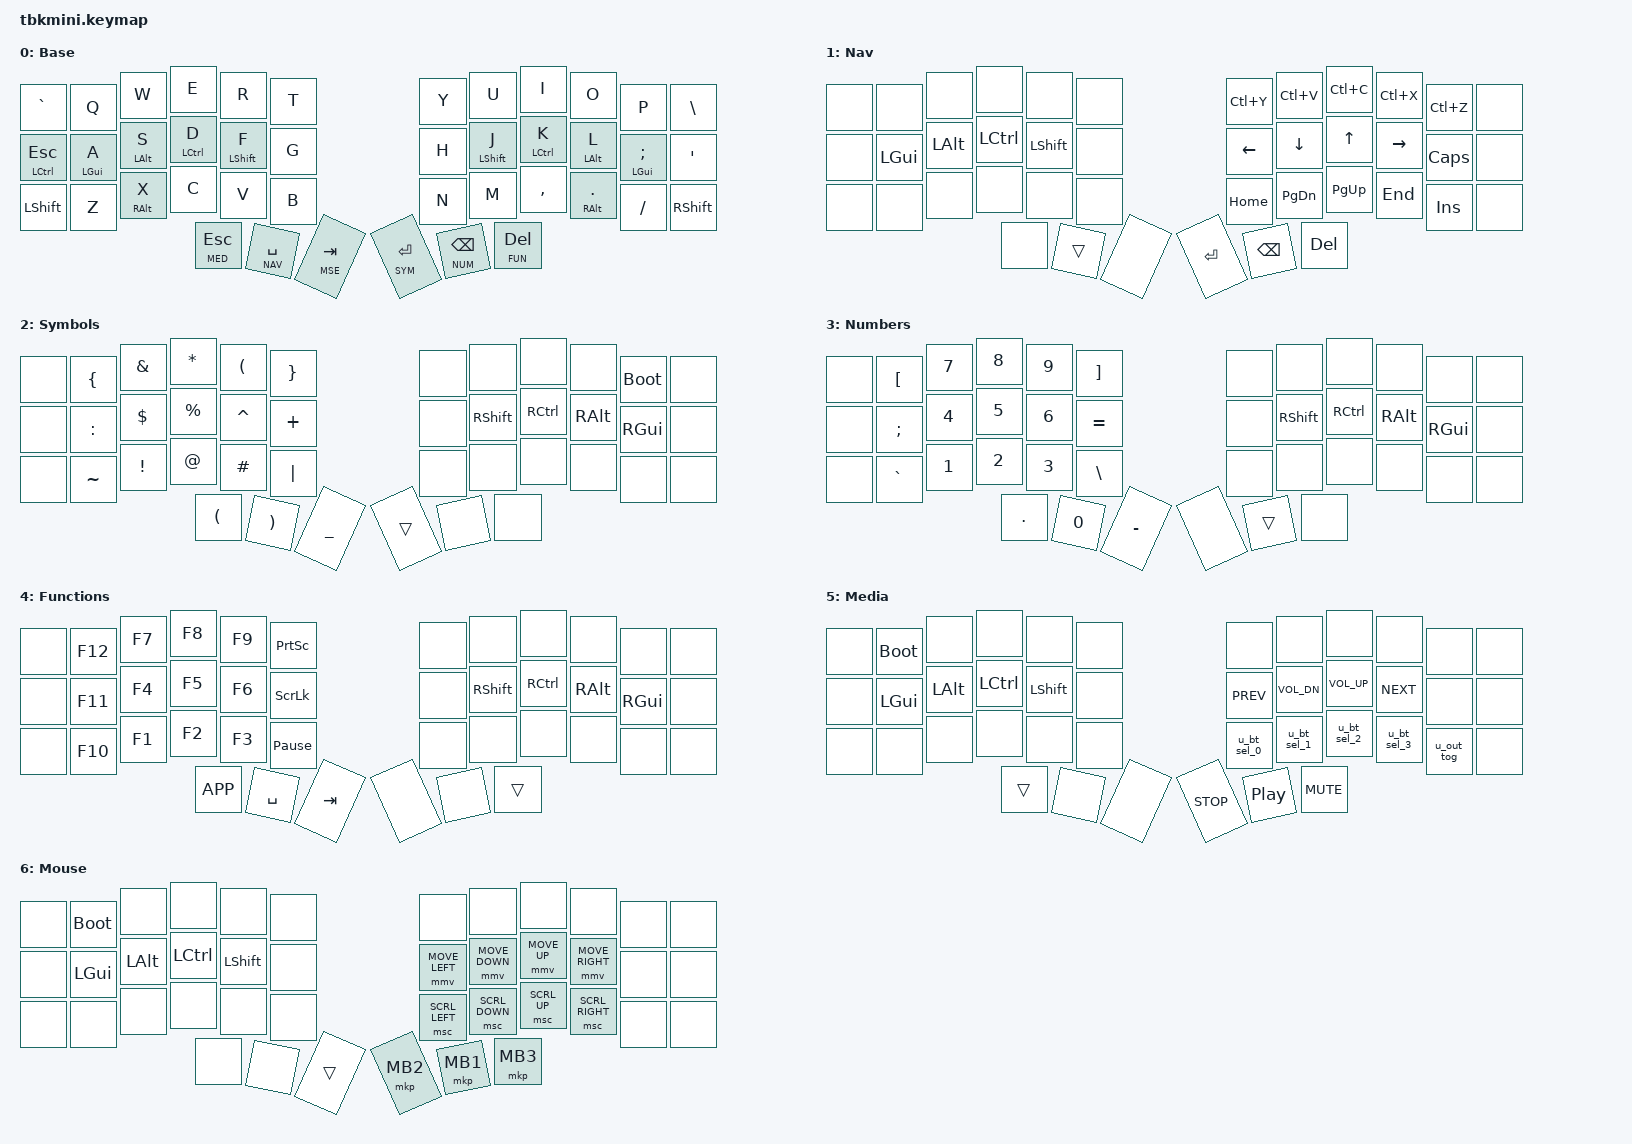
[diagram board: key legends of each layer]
#include <behaviors.dtsi>
#include <dt-bindings/zmk/keys.h>
#include <dt-bindings/zmk/bt.h>
#include <dt-bindings/zmk/outputs.h>

#define ZMK_POINTING_DEFAULT_MOVE_VAL 2400
#include <dt-bindings/zmk/pointing.h>

// The default keymap is roughly on Miryoku layout
// (https://github.com/manna-harbour/miryoku).
// Customize on your own on the config folder.


#define KEYS_L 0 1 2 3  4  5 12 13 14 15 16 17 24 25 26 27 28 29
#define KEYS_R 6 7 8 9 10 11 18 19 20 21 22 23 30 31 32 33 34 35
#define THUMBS 36 37 38 39 40 41


#define BASE    0
#define NAV     1
#define SYM     2
#define NUM     3
#define FUN     4
#define MED     5
#define MSE     6

&mmv {
    acceleration-exponent = <1>;
    time-to-max-speed-ms = <800>;
    delay-ms = <0>;
};

/ {
  behaviors {
    hl: homerow_mod_left {
      compatible = "zmk,behavior-hold-tap";
      /* label = "HOMEROW_MODS"; */
      #binding-cells = <2>;
      tapping-term-ms = <280>;
      quick-tap-ms = <150>;
      flavor = "balanced";
      bindings = <&kp>, <&kp>;
      require-prior-idle-ms = <175>;
      hold-trigger-key-positions = <KEYS_R THUMBS>;
      hold-trigger-on-release;
    };
    hr: homerow_mod_right {
      compatible = "zmk,behavior-hold-tap";
      /* label = "HOMEROW_MODS"; */
      #binding-cells = <2>;
      tapping-term-ms = <280>;
      quick-tap-ms = <150>;
      flavor = "balanced";
      bindings = <&kp>, <&kp>;
      require-prior-idle-ms = <175>;
      hold-trigger-key-positions = <KEYS_L THUMBS>;
      hold-trigger-on-release;
    };
    u_out_tog: u_out_tog {
      compatible = "zmk,behavior-mod-morph";
      #binding-cells = <0>;
      bindings = <&out OUT_TOG>, <&out OUT_USB>;
      mods = <(MOD_LSFT|MOD_RSFT)>;
    };
    u_bt_sel_0: u_bt_sel_0 {
      compatible = "zmk,behavior-mod-morph";
      #binding-cells = <0>;
      bindings = <&bt BT_SEL 0>, <&bt BT_SEL 0 &bt BT_CLR>;
      mods = <(MOD_LSFT|MOD_RSFT)>;
    };
    u_bt_sel_1: u_bt_sel_1 {
      compatible = "zmk,behavior-mod-morph";
      #binding-cells = <0>;
      bindings = <&bt BT_SEL 1>, <&bt BT_SEL 1 &bt BT_CLR>;
      mods = <(MOD_LSFT|MOD_RSFT)>;
    };
    u_bt_sel_2: u_bt_sel_2 {
      compatible = "zmk,behavior-mod-morph";
      #binding-cells = <0>;
      bindings = <&bt BT_SEL 2>, <&bt BT_SEL 2 &bt BT_CLR>;
      mods = <(MOD_LSFT|MOD_RSFT)>;
    };
    u_bt_sel_3: u_bt_sel_3 {
      compatible = "zmk,behavior-mod-morph";
      #binding-cells = <0>;
      bindings = <&bt BT_SEL 3>, <&bt BT_SEL 3 &bt BT_CLR>;
      mods = <(MOD_LSFT|MOD_RSFT)>;
    };
    u_bt_sel_4: u_bt_sel_4 {
      compatible = "zmk,behavior-mod-morph";
      #binding-cells = <0>;
      bindings = <&bt BT_SEL 4>, <&bt BT_SEL 4 &bt BT_CLR>;
      mods = <(MOD_LSFT|MOD_RSFT)>;
    };

  };

  keymap {
    compatible = "zmk,keymap";

        default_layer {
            display-name = "Base";
            bindings = <
    &kp GRAVE       &kp Q       &kp W       &kp E       &kp R           &kp T               &kp Y           &kp U           &kp I       &kp O           &kp P           &kp BSLH
    &hl LCTRL ESC   &hl LGUI A  &hl LALT S  &hl LCTRL D &hl LSHFT F     &kp G               &kp H           &hr LSHFT J     &hr LCTRL K &hr LALT L      &hr LGUI SEMI   &kp SQT
    &kp LSHIFT      &kp Z       &hl RALT X  &kp C       &kp V           &kp B               &kp N           &kp M           &kp COMMA   &hr RALT DOT    &kp FSLH        &kp RSHIFT
                                            &lt MED ESC &lt NAV SPACE   &lt MSE TAB         &lt SYM RET     &lt NUM BSPC    &lt FUN DEL
            >;
        };

        nav_layer {
            display-name = "Nav";
            bindings = <
    &none &none       &none       &none       &none       &none                           &kp LC(Y)   &kp LC(V)   &kp LC(C) &kp LC(X) &kp LC(Z) &none
    &none &kp LGUI    &kp LALT    &kp LCTRL   &kp LSHFT   &none                           &kp LEFT    &kp DOWN    &kp UP    &kp RIGHT &kp CAPS  &none
    &none &none       &none       &none       &none       &none                           &kp HOME    &kp PG_DN   &kp PG_UP &kp END   &kp INS   &none
                                        &none       &trans  &none       &kp RET     &kp BSPC    &kp DEL     
            >;
        };

        sym_layer {
            display-name = "Symbols";
            bindings = <
    &none &kp LBRC    &kp AMPS    &kp STAR    &kp LPAR   &kp RBRC                     &none       &none       &none       &none       &bootloader &none
    &none &kp COLON   &kp DLLR    &kp PRCNT   &kp CARET  &kp PLUS                     &none       &kp RSHFT   &kp RCTRL   &kp RALT    &kp RGUI &none
    &none &kp TILDE   &kp EXCL    &kp AT      &kp HASH   &kp PIPE                     &none       &none       &none       &none       &none &none
                                        &kp LPAR   &kp RPAR &kp UNDER   &trans  &none       &none
            >;
        };

        num_layer {
            display-name = "Numbers";
            bindings = <
    &none &kp LBKT    &kp N7  &kp N8  &kp N9  &kp RBKT                        &none   &none       &none       &none       &none &none
    &none &kp SEMI    &kp N4  &kp N5  &kp N6  &kp EQUAL                       &none   &kp RSHFT   &kp RCTRL   &kp RALT    &kp RGUI &none
    &none &kp GRAVE   &kp N1  &kp N2  &kp N3  &kp BSLH                        &none   &none       &none       &none       &none &none
                                &kp DOT &kp N0      &kp MINUS   &none   &trans  &none
            >;
        };

        fun_layer {
            display-name = "Functions";
            bindings = <
    &none &kp F12 &kp F7  &kp F8    &kp F9      &kp PSCRN                   &none   &none       &none       &none       &none     &none
    &none &kp F11 &kp F4  &kp F5    &kp F6      &kp SLCK                    &none   &kp RSHFT   &kp RCTRL   &kp RALT    &kp RGUI  &none
    &none &kp F10 &kp F1  &kp F2    &kp F3      &kp PAUSE_BREAK             &none   &none       &none       &none       &none     &none
                          &kp K_APP &kp SPACE   &kp TAB                     &none   &none       &trans
            >;
        };

        media_layer {
            display-name = "Media";
            bindings = <
    &none &bootloader &none       &none       &none       &none             &none       &none           &none           &none       &none       &none
    &none &kp LGUI    &kp LALT    &kp LCTRL   &kp LSHFT   &none             &kp C_PREV  &kp C_VOL_DN    &kp C_VOL_UP    &kp C_NEXT  &none       &none
    &none &none       &none       &none       &none       &none             &u_bt_sel_0 &u_bt_sel_1     &u_bt_sel_2     &u_bt_sel_3 &u_out_tog  &none
                                      &trans      &none   &none             &kp C_STOP  &kp C_PP        &kp C_MUTE     
            >;
        };

        mouse_layer {
            display-name = "Mouse";
            bindings = <
    &none &bootloader &none      &none     &none       &none             &none          &none           &none           &none           &none       &none
    &none &kp LGUI    &kp LALT   &kp LCTRL &kp LSHFT   &none             &mmv MOVE_LEFT &mmv MOVE_DOWN  &mmv MOVE_UP    &mmv MOVE_RIGHT &none       &none
    &none &none       &none      &none     &none       &none             &msc SCRL_LEFT &msc SCRL_DOWN  &msc SCRL_UP    &msc SCRL_RIGHT &none       &none
                                 &none     &none       &trans            &mkp MB2       &mkp MB1        &mkp MB3     
            >;
        };
    };

    combos {
        compatible = "zmk,combos";
        combo_lpar {
            timeout-ms = <50>;
            key-positions = <4 16>;
            bindings = <&kp LPAR>;
            layers = <0>;
        };
        combo_lbkt {
            timeout-ms = <50>;
            key-positions = <3 15>;
            bindings = <&kp LBKT>;
            layers = <0>;
        };
        combo_lbkt_right {
            timeout-ms = <50>;
            key-positions = <18 19>;
            bindings = <&kp LBKT>;
            layers = <0>;
        };
        combo_lbrc_right {
            timeout-ms = <50>;
            key-positions = <6 7>;
            bindings = <&kp LBRC>;
            layers = <0>;
        };
        combo_rpar {
            timeout-ms = <50>;
            key-positions = <7 19>;
            bindings = <&kp RPAR>;
            layers = <0>;
        };
        combo_rbkt {
            timeout-ms = <50>;
            key-positions = <8 20>;
            bindings = <&kp RBKT>;
            layers = <0>;
        };
        combo_rbrc {
            timeout-ms = <50>;
            key-positions = <9 21>;
            bindings = <&kp RBRC>;
            layers = <0>;
        };
        combo_ctrlc {
            timeout-ms = <50>;
            key-positions = <15 27>;
            /* bindings = <&kp K_COPY>; */
            bindings = <&kp LC(INS)>;
            layers = <0>;
        };
        combo_ctrlv {
            timeout-ms = <50>;
            key-positions = <15 28>;
            /* bindings = <&kp K_PASTE>; */
            bindings = <&kp LS(INS)>;
            layers = <0>;
        };
    };
};
